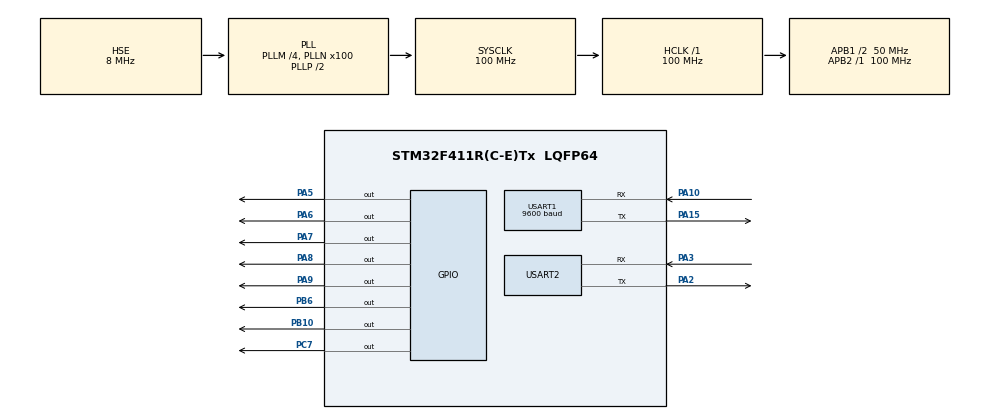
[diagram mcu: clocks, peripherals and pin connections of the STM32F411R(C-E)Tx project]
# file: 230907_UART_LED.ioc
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Mcu.Family=STM32F4
Mcu.Name=STM32F411R(C-E)Tx
Mcu.Package=LQFP64
NVIC.PriorityGroup=NVIC_PRIORITYGROUP_4
NVIC.USART1_IRQn=true\:0\:0\:false\:false\:true\:true\:true\:true
NVIC.USART2_IRQn=true\:0\:0\:false\:false\:true\:true\:true\:true
PA10.Mode=Asynchronous
PA10.Signal=USART1_RX
PA13.Mode=Serial_Wire
PA13.Signal=SYS_JTMS-SWDIO
PA14.Mode=Serial_Wire
PA14.Signal=SYS_JTCK-SWCLK
PA15.Mode=Asynchronous
PA15.Signal=USART1_TX
PA2.Mode=Asynchronous
PA2.Signal=USART2_TX
PA3.Mode=Asynchronous
PA3.Signal=USART2_RX
PA5.GPIO_PuPd=GPIO_NOPULL
PA5.PinState=GPIO_PIN_RESET
PA5.Signal=GPIO_Output
PA6.GPIO_PuPd=GPIO_NOPULL
PA6.PinState=GPIO_PIN_RESET
PA6.Signal=GPIO_Output
PA7.GPIO_PuPd=GPIO_NOPULL
PA7.PinState=GPIO_PIN_RESET
PA7.Signal=GPIO_Output
PA8.GPIO_PuPd=GPIO_NOPULL
PA8.PinState=GPIO_PIN_RESET
PA8.Signal=GPIO_Output
PA9.Signal=GPIO_Output
PB10.GPIO_PuPd=GPIO_NOPULL
PB10.PinState=GPIO_PIN_RESET
PB10.Signal=GPIO_Output
PB6.GPIO_PuPd=GPIO_NOPULL
PB6.PinState=GPIO_PIN_RESET
PB6.Signal=GPIO_Output
PC7.GPIO_PuPd=GPIO_NOPULL
PC7.PinState=GPIO_PIN_RESET
PC7.Signal=GPIO_Output
PH0\ -\ OSC_IN.Mode=HSE-External-Oscillator
PH0\ -\ OSC_IN.Signal=RCC_OSC_IN
PH1\ -\ OSC_OUT.Mode=HSE-External-Oscillator
PH1\ -\ OSC_OUT.Signal=RCC_OSC_OUT
ProjectManager.HeapSize=0x200
ProjectManager.StackSize=0x400
ProjectManager.TargetToolchain=STM32CubeIDE
RCC.48MHZClocksFreq_Value=50000000
RCC.AHBFreq_Value=100000000
RCC.APB1CLKDivider=RCC_HCLK_DIV2
RCC.APB1Freq_Value=50000000
RCC.APB1TimFreq_Value=100000000
RCC.APB2Freq_Value=100000000
RCC.APB2TimFreq_Value=100000000
RCC.CortexFreq_Value=100000000
RCC.HCLKFreq_Value=100000000
RCC.HSE_VALUE=8000000
RCC.HSI_VALUE=16000000
RCC.LSE_VALUE=32768
RCC.PLLM=4
RCC.PLLN=100
RCC.PLLSourceVirtual=RCC_PLLSOURCE_HSE
RCC.SYSCLKFreq_VALUE=100000000
RCC.SYSCLKSource=RCC_SYSCLKSOURCE_PLLCLK
RCC.VCOOutputFreq_Value=200000000
USART1.BaudRate=9600
USART1.VirtualMode=VM_ASYNC
USART2.VirtualMode=VM_ASYNC
board=custom

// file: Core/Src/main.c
/* USER CODE BEGIN Header */
/**
  ******************************************************************************
  * @file           : main.c
  * @brief          : Main program body
  ******************************************************************************
  * @attention
  *
  * Copyright (c) 2023 STMicroelectronics.
  * All rights reserved.
  *
  * This software is licensed under terms that can be found in the LICENSE file
  * in the root directory of this software component.
  * If no LICENSE file comes with this software, it is provided AS-IS.
  *
  ******************************************************************************
  */
/* USER CODE END Header */
#include "main.h"
#include "usart.h"
#include "gpio.h"

/* USER CODE BEGIN PV */
uint8_t rxData[3];
//uint8_t rxData2[1];
GPIO_TypeDef *led2_GPIO[8] =  // pin order: PA_5,6,7, PB_6, PC_7, PA_9,8, PB_10
    {
        GPIOA, GPIOA, GPIOA, GPIOB,
        GPIOC, GPIOA, GPIOA, GPIOB
    };
GPIO_TypeDef *led2_GPIO_PIN[8] =  // pin order: PA_5,6,7, PB_6, PC_7, PA_9,8, PB_10
    {
        GPIO_PIN_5, GPIO_PIN_6, GPIO_PIN_7, GPIO_PIN_6,
        GPIO_PIN_7, GPIO_PIN_9, GPIO_PIN_8, GPIO_PIN_10
    };

/* USER CODE END PV */

void SystemClock_Config(void);
/* USER CODE BEGIN PFP */
void HAL_UART_RxCpltCallback(UART_HandleTypeDef *huart){    // cannot use Delay!
  HAL_UART_Receive_IT(&huart2, rxData, 1);
  HAL_UART_Receive_IT(&huart1, rxData, sizeof(rxData));

  static int state=0;
  // LED_All_Off(); // remove it!

  if(rxData[0]=='0'){
    LED_All_Off();
  }
  else if(rxData[0]=='a'){
    LED_All_On();
  }

  // All Off 1 LED On
  else if(rxData[0]=='b'){
    LED_All_Off();
    HAL_GPIO_WritePin(led2_GPIO[state], led2_GPIO_PIN[state], 1);
    state++;
    if(state>8) state = 0;
  }
  else if(rxData[0]=='c'){
    LED_All_Off();
    if(state>0) state--;
    HAL_GPIO_WritePin(led2_GPIO[state], led2_GPIO_PIN[state], 1);
    if(state<=0) state = 8;
  }

  // All ON 1 LED off
  else if(rxData[0]=='d'){
    LED_All_On();
    HAL_GPIO_WritePin(led2_GPIO[state], led2_GPIO_PIN[state], 0);
    state++;
    if(state>=8) state = 0;
  }
  else if(rxData[0]=='e'){
    if(state>0) state--;
    LED_All_On();
    HAL_GPIO_WritePin(led2_GPIO[state], led2_GPIO_PIN[state], 0);
    if(state<=0) state = 8;
  }

  // Toggle
  else if(rxData[0]=='t'){
    for(int j=0;j<8;j++){
      HAL_GPIO_TogglePin(led2_GPIO[j], led2_GPIO_PIN[j]);
    }
  }

  // rxData[0]='\0';
}
/* USER CODE END PFP */

/* USER CODE BEGIN 0 */
void LED_All_On(){
  for(int j=0; j<8; j++){
    HAL_GPIO_WritePin(led2_GPIO[j], led2_GPIO_PIN[j], 1);
  }
}
void LED_All_Off(){
  for(int j=0; j<8; j++){
      HAL_GPIO_WritePin(led2_GPIO[j], led2_GPIO_PIN[j], 0);
    }
}
/* USER CODE END 0 */

int main(void)
{

  /* MCU Configuration--------------------------------------------------------*/

  /* Reset of all peripherals, Initializes the Flash interface and the Systick. */
  HAL_Init();

  /* USER CODE BEGIN Init */
  LED_All_Off();
  /* USER CODE END Init */

  /* Configure the system clock */
  SystemClock_Config();

  /* Initialize all configured peripherals */
  MX_GPIO_Init();
  MX_USART2_UART_Init();
  MX_USART1_UART_Init();
  /* USER CODE BEGIN 2 */
  HAL_UART_Receive_IT(&huart2, rxData, 1);
  HAL_UART_Receive_IT(&huart1, rxData, sizeof(rxData));

  /* USER CODE END 2 */

  /* Infinite loop */
  while (1)
  {

  }
}

void SystemClock_Config(void)
{
  RCC_OscInitTypeDef RCC_OscInitStruct = {0};
  RCC_ClkInitTypeDef RCC_ClkInitStruct = {0};

  /** Configure the main internal regulator output voltage
  */
  __HAL_RCC_PWR_CLK_ENABLE();
  __HAL_PWR_VOLTAGESCALING_CONFIG(PWR_REGULATOR_VOLTAGE_SCALE1);

  /** Initializes the RCC Oscillators according to the specified parameters
  * in the RCC_OscInitTypeDef structure.
  */
  RCC_OscInitStruct.OscillatorType = RCC_OSCILLATORTYPE_HSE;
  RCC_OscInitStruct.HSEState = RCC_HSE_ON;
  RCC_OscInitStruct.PLL.PLLState = RCC_PLL_ON;
  RCC_OscInitStruct.PLL.PLLSource = RCC_PLLSOURCE_HSE;
  RCC_OscInitStruct.PLL.PLLM = 4;
  RCC_OscInitStruct.PLL.PLLN = 100;
  RCC_OscInitStruct.PLL.PLLP = RCC_PLLP_DIV2;
  RCC_OscInitStruct.PLL.PLLQ = 4;
  if (HAL_RCC_OscConfig(&RCC_OscInitStruct) != HAL_OK)
  {
    Error_Handler();
  }

  /** Initializes the CPU, AHB and APB buses clocks
  */
  RCC_ClkInitStruct.ClockType = RCC_CLOCKTYPE_HCLK|RCC_CLOCKTYPE_SYSCLK
                              |RCC_CLOCKTYPE_PCLK1|RCC_CLOCKTYPE_PCLK2;
  RCC_ClkInitStruct.SYSCLKSource = RCC_SYSCLKSOURCE_PLLCLK;
  RCC_ClkInitStruct.AHBCLKDivider = RCC_SYSCLK_DIV1;
  RCC_ClkInitStruct.APB1CLKDivider = RCC_HCLK_DIV2;
  RCC_ClkInitStruct.APB2CLKDivider = RCC_HCLK_DIV1;

  if (HAL_RCC_ClockConfig(&RCC_ClkInitStruct, FLASH_LATENCY_3) != HAL_OK)
  {
    Error_Handler();
  }
}

void Error_Handler(void)
{
  __disable_irq();
  while (1)
  {
  }
}
